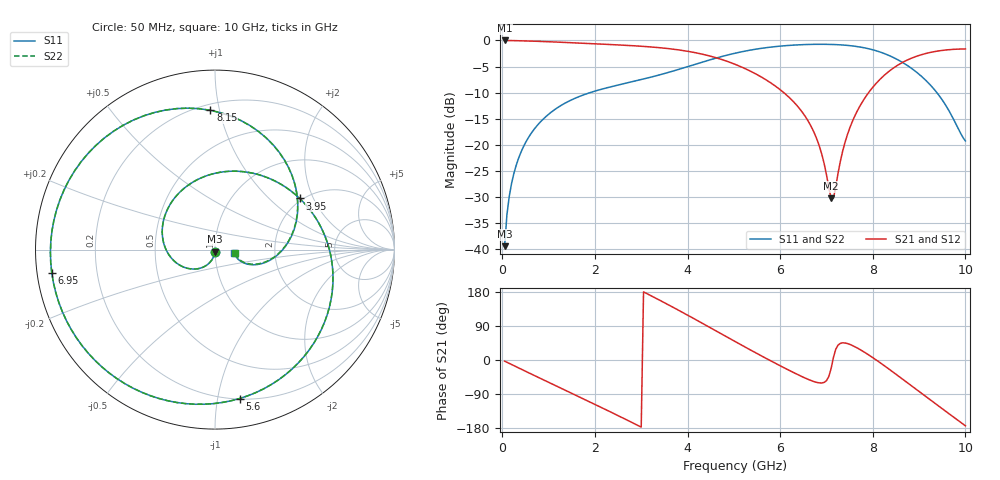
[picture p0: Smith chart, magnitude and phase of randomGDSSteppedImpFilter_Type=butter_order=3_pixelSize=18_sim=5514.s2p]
! freq	dB(S11)	phase(S11)	dB(S12)	phase(S12)
!  dB(S21)	phase(S21)	dB(S22)	phase(S22)
!S-par simulation data
#  GHz  S  DB  R 50
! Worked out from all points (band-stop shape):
!   200 points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, 50 MHz to 10 GHz, reference 50 ohm
!   highest |S21| = 0.00 dB at 50 MHz (marker M1); lowest = -30.3 dB at 7.1 GHz (marker M2)
!   |S21| within 3 dB of the highest: start of sweep to 4.489 GHz; 8.955 GHz to end of sweep
!   lowest |S11| = -39.4 dB at 50 MHz (marker M3), VSWR 1.02, Z = 49.9 - j1.06 ohm
!   |S11| at or under -10 dB: start of sweep to 1.897 GHz; 9.383 GHz to end of sweep
!   |S22| runs from -39.4 to -0.7 dB; largest |S21 - S12| = 0
!   S11 on the Smith chart (normalised r, x): 50 MHz: 1.00, -0.02; 3.95 GHz: 1.94, +1.58; 5.6 GHz: 0.20, -1.16; 6.95 GHz: 0.04, -0.07; 8.15 GHz: 0.24, +0.94; 10 GHz: 1.24, -0.05
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0.05  -39.44 -92.6  -0.00 -3.0  -0.00 -3.0  -39.44 -92.6
0.2  -27.43 -101.9  -0.03 -11.9  -0.03 -11.9  -27.43 -101.9
0.5  -19.62 -119.9  -0.09 -29.6  -0.09 -29.6  -19.62 -119.9
1.15  -13.14 -158.3  -0.30 -67.7  -0.30 -67.7  -13.14 -158.3
1.75  -10.45 166.7  -0.54 -102.6  -0.54 -102.6  -10.45 166.7
2.65  -8.24 113.5  -0.92 -155.8  -0.92 -155.8  -8.24 113.4
3.4  -6.59 66.9  -1.39 157.7  -1.39 157.7  -6.59 66.9
3.95  -5.17 31.1  -2.00 121.8  -2.00 121.8  -5.17 31.0
4.45  -3.81 -2.6  -2.91 88.1  -2.91 88.1  -3.81 -2.7
5.05  -2.40 -43.5  -4.66 47.2  -4.66 47.2  -2.40 -43.6
5.6  -1.50 -80.7  -7.04 10.5  -7.04 10.5  -1.50 -80.7
6.15  -0.98 -117.2  -10.56 -24.6  -10.56 -24.6  -0.98 -117.3
6.7  -0.75 -154.3  -17.03 -55.7  -17.03 -55.7  -0.75 -154.4
6.95  -0.74 -171.9  -23.61 -59.1  -23.61 -59.1  -0.74 -171.9
7.1  -0.76 177.3  -30.26 -22.7  -30.26 -22.7  -0.76 177.3
7.55  -1.04 142.8  -15.73 38.8  -15.73 38.8  -1.04 142.8
8.15  -2.20 91.9  -7.50 -6.4  -7.50 -6.4  -2.19 92.1
8.35  -2.88 74.2  -5.92 -24.0  -5.92 -24.0  -2.88 74.4
8.75  -4.82 39.0  -3.73 -60.3  -3.73 -60.3  -4.81 39.3
9.2  -8.14 2.4  -2.38 -101.4  -2.38 -101.4  -8.11 3.1
9.55  -12.08 -19.6  -1.85 -133.1  -1.85 -133.1  -12.02 -18.6
10  -19.26 -10.5  -1.63 -173.7  -1.63 -173.7  -18.99 -9.8
